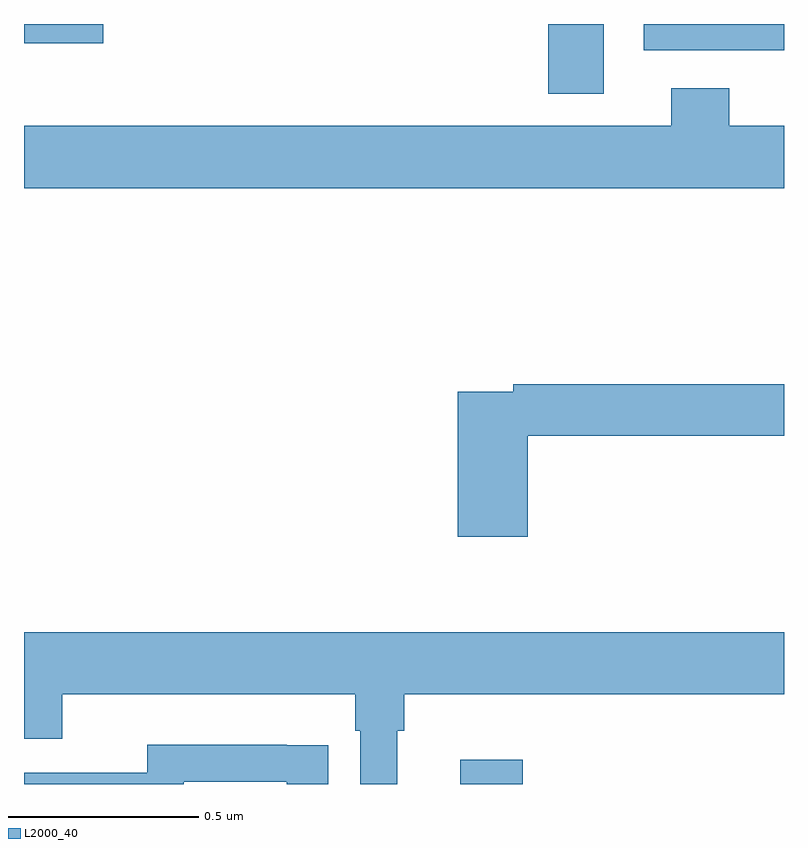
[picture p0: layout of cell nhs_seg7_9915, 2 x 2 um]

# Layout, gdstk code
import gdstk
lib = gdstk.Library(unit=1e-6, precision=1e-09)
def R(c, l, rs):  # rectangles x0, y0, x1, y1
    for r in rs: c.add(gdstk.rectangle(r[:2], r[2:], *l))
def P(c, l, *ps):  # polygons
    for p in ps: c.add(gdstk.Polygon(p, *l))
L2000_40 = (2000, 40)

nhs_seg7_9915 = lib.new_cell('nhs_seg7_9915')
R(nhs_seg7_9915, L2000_40, [(244.148,1047,244.312,1047.064), (244.379,1048.817,244.525,1049), (244.631,1048.931,245,1049), (243,1048.949,243.209,1049)])
P(nhs_seg7_9915, L2000_40, [(245,1048.732),(244.856,1048.732),(244.856,1048.831),(244.703,1048.831),(244.703,1048.732),(243,1048.732),(243,1048.568),(245,1048.568)],
  [(244.325,1047.916),(245,1047.916),(245,1048.052),(244.288,1048.052),(244.288,1048.032),(244.142,1048.032),(244.142,1047.651),(244.325,1047.651)],
  [(243.982,1047.14),(244.001,1047.14),(244.001,1047.236),(245,1047.236),(245,1047.4),(243,1047.4),(243,1047.119),(243.1,1047.119),(243.1,1047.236),(243.872,1047.236),(243.872,1047.14),(243.885,1047.14),(243.885,1047),(243.982,1047)],
  [(243.42,1047.006),(243.692,1047.006),(243.692,1047),(243.8,1047),(243.8,1047.102),(243.692,1047.102),(243.692,1047.103),(243.324,1047.103),(243.324,1047.03),(243,1047.03),(243,1047),(243.42,1047)])

lib.write_gds('nhs_seg7_9915.gds')
